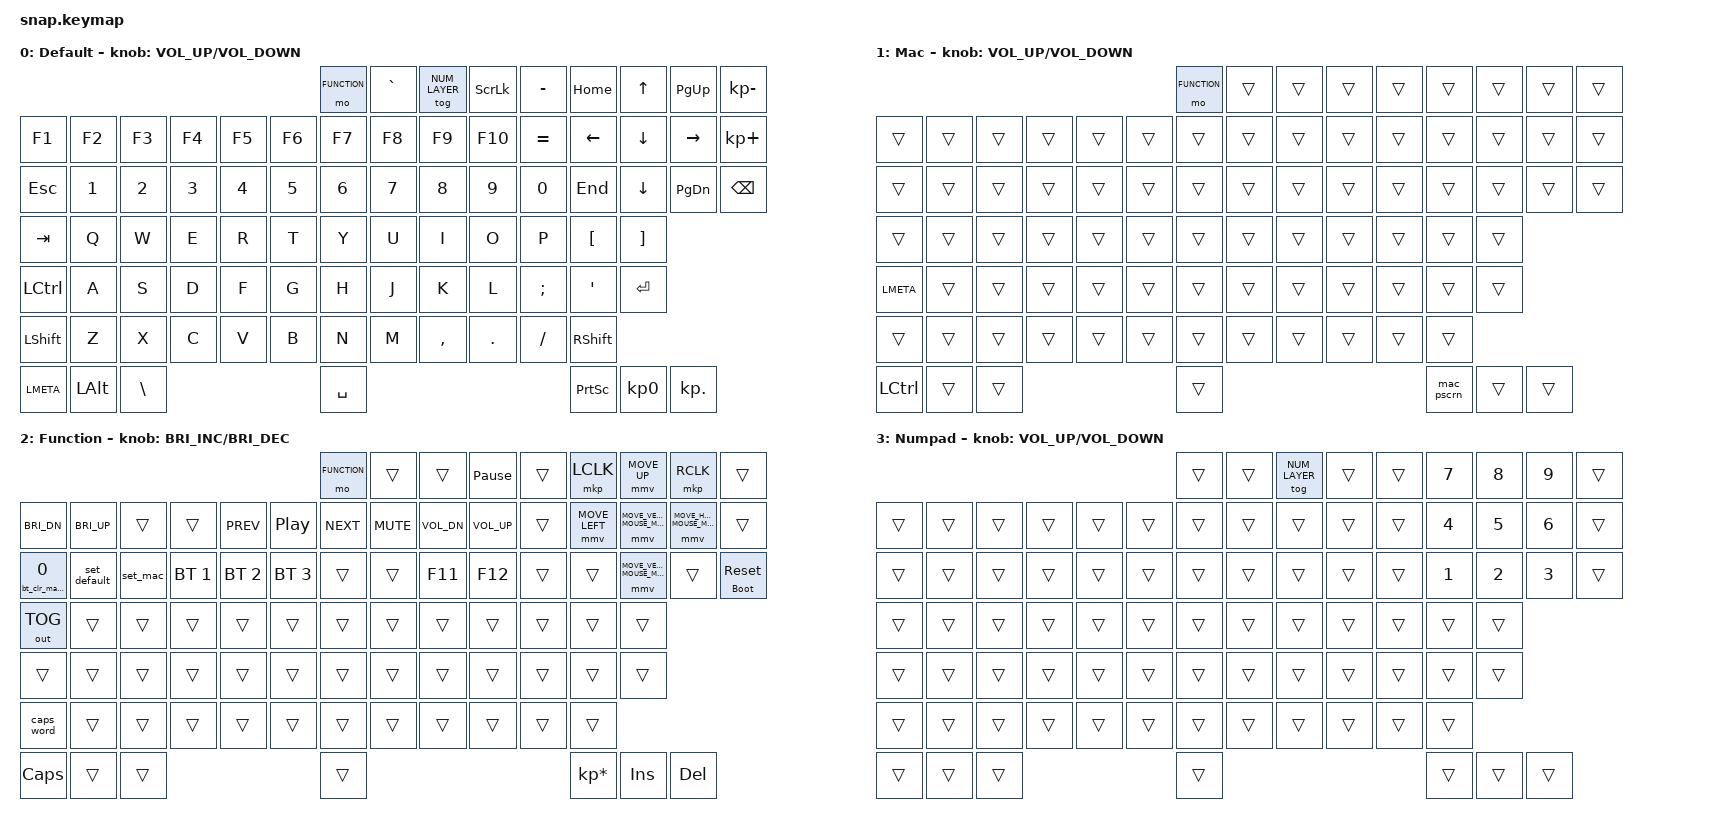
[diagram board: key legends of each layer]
#include <behaviors.dtsi>
#include <dt-bindings/zmk/keys.h>
#include <dt-bindings/zmk/bt.h>
#include <dt-bindings/zmk/outputs.h>
#include <dt-bindings/zmk/mouse.h>

#define U_MOUSE_MOVE_MAX 1500
#define U_MOUSE_SCROLL_MAX 100

#define DEFAULT 0
#define MAC_LAYER 1
#define FUNCTION 2
#define NUM_LAYER 3

#undef MOVE_UP
#undef MOVE_DOWN
#undef MOVE_LEFT
#undef MOVE_RIGHT
#define MOVE_UP MOVE_VERT(-U_MOUSE_MOVE_MAX)
#define MOVE_DOWN MOVE_VERT(U_MOUSE_MOVE_MAX)
#define MOVE_LEFT MOVE_HOR(-U_MOUSE_MOVE_MAX)
#define MOVE_RIGHT MOVE_HOR(U_MOUSE_MOVE_MAX)

#undef SCROLL_UP
#undef SCROLL_DOWN
#undef SCROLL_LEFT
#undef SCROLL_RIGHT
#define SCROLL_UP SCROLL_VERT(U_MOUSE_SCROLL_MAX)
#define SCROLL_DOWN SCROLL_VERT(-U_MOUSE_SCROLL_MAX)
#define SCROLL_LEFT SCROLL_HOR(-U_MOUSE_SCROLL_MAX)
#define SCROLL_RIGHT SCROLL_HOR(U_MOUSE_SCROLL_MAX)

&mmv {
  time-to-max-speed-ms = <300>;
};

&mwh {
  time-to-max-speed-ms = <600>;
};

/{
    sensors {
        compatible = "zmk,keymap-sensors";
        sensors = <&encoder_1>;
        triggers-per-rotation = <12>;
    };

    behaviors {
        
        td2: tap_dance_2 {
            compatible = "zmk,behavior-tap-dance";
            label = "TAP_DANCE_2";
            #binding-cells = <0>;
            tapping-term-ms = <200>;
            bindings = <&kp LA(LBKT)>, <&kp LA(LS(LBKT))>;
        };
        td3: tap_dance_3 {
            compatible = "zmk,behavior-tap-dance";
            label = "TAP_DANCE_3";
            #binding-cells = <0>;
            tapping-term-ms = <200>;
            bindings = <&kp LA(RBKT)>, <&kp LA(LS(RBKT))>;
        };
        td4: tap_dance_4 {
            compatible = "zmk,behavior-tap-dance";
            label = "TAP_DANCE_4";
            #binding-cells = <0>;
            tapping-term-ms = <200>;
            bindings = <&kp LA(SEMI)>, <&kp LA(LS(SEMI))>;
        };
        td5: tap_dance_5 {
            compatible = "zmk,behavior-tap-dance";
            label = "TAP_DANCE_5";
            #binding-cells = <0>;
            tapping-term-ms = <200>;
            bindings = <&kp LA(SQT)>, <&kp LA(LS(SQT))>;
        };
        rst: boot_reset {
            compatible = "zmk,behavior-hold-tap";
            label = "Reset Tap - Bootloader Hold";
            #binding-cells = <2>;
            tapping_term_ms = <5000>;
            flavor = "tap-preferred";
            bindings = <&bootloader>, <&sys_reset>;
        };
        bt_clr_esc: bt_clr_esc {
            compatible = "zmk,behavior-hold-tap";
            label = "Esc Tap - Bluetooth Clear Hold";
            #binding-cells = <2>;
            tapping_term_ms = <5000>;
            flavor = "tap-preferred";
            bindings = <&bt_clr_macro>, <&kp>;
        };
    };

    macros {
        set_default: set_default {
            label = "Set Default layer";
            compatible = "zmk,behavior-macro";
            #binding-cells = <0>;
            bindings
                = <&to DEFAULT>
                , <&out OUT_USB>
                ;
        };
        set_mac: set_mac {
            label = "Set Mac layer";
            compatible = "zmk,behavior-macro";
            #binding-cells = <0>;
            bindings
                = <&to MAC_LAYER>
                , <&out OUT_BLE>
                , <&bt BT_SEL 0>
                ;
        };
        mac_pscrn: mac_pscrn {
            label = "mac_pscrn";
            compatible = "zmk,behavior-macro";
            #binding-cells = <0>;
            bindings
                = <&macro_press &kp LSHFT>
                , <&macro_press &kp LMETA>
                , <&macro_tap &kp N5>
                , <&macro_release &kp LMETA>
                , <&macro_release &kp LSHFT>
                ;
        };
        bt_clr_macro: bt_clr_macro {
            label = "Clear bluetooth macro";
            compatible = "zmk,behavior-macro";
            #binding-cells = <0>;
            bindings
                = <&bt BT_CLR>
                ;
        };
    };

    keymap {
        compatible = "zmk,keymap";

        default_layer {
            label = "Default";

            // --------------------------------------------------------------------------------------------------------------------------------------------------------------------
            //                                                              |    FN   |    `    |   NMLK  |   SCLK  |    -    |    7    |    8    |    9    |    -    |
            // |   F1     |    F2   |    F3   |    F4   |    F5   |    F6   |    F7   |    F8   |    F9   |   F10   |    +    |    1    |    2    |    3    |    +    |
            // |   ESC    |    1    |    2    |    3    |    4    |    5    |    6    |    7    |    8    |    9    |    0    |    1    |    2    |    3    |   BSPC  |
            // |   TAB    |    Q    |    W    |    E    |    R    |    T    |    Y    |    U    |    I    |    O    |    P    |    [    |    ]    |
            // |   CTRL   |    A    |    S    |    D    |    F    |    G    |    H    |    J    |    K    |    L    |    ;    |    '    |  ENTER  |
            // |   SHIFT  |    Z    |    X    |    C    |    V    |    B    |    N    |    M    |    ,    |    .    |    /    |  SHIFT  |
            // |   Alt    |  PrtScr |    |    |                             |  SPACE  |                                                 |CapsLock |    0    |    .    |
            //
            bindings = <
                                                                                            &mo FUNCTION       &kp GRAVE  &tog NUM_LAYER &kp SLCK  &kp MINUS  &kp HOME  &kp UP    &kp PG_UP &kp KP_MINUS
            &kp F1     &kp F2        &kp F3        &kp F4        &kp F5        &kp F6       &kp F7             &kp F8     &kp F9         &kp F10   &kp EQUAL  &kp LEFT  &kp DOWN  &kp RIGHT &kp KP_PLUS
            &kp ESC    &kp N1        &kp N2        &kp N3        &kp N4        &kp N5       &kp N6             &kp N7     &kp N8         &kp N9    &kp N0     &kp END   &kp DOWN  &kp PG_DN &kp BSPC
            &kp TAB    &kp Q         &kp W         &kp E         &kp R         &kp T        &kp Y              &kp U      &kp I          &kp O     &kp P      &kp LBKT  &kp RBKT 
            &kp LCTRL  &kp A         &kp S         &kp D         &kp F         &kp G        &kp H              &kp J      &kp K          &kp L     &kp SEMI   &kp SQT   &kp ENTER
            &kp LSHIFT &kp Z         &kp X         &kp C         &kp V         &kp B        &kp N              &kp M      &kp COMMA      &kp DOT   &kp SLASH  &kp RSHIFT
            &kp LMETA  &kp LALT      &kp BSLH                                               &kp SPACE                                                         &kp PSCRN &kp KP_N0 &kp KP_DOT
                    >;
            sensor-bindings = <&inc_dec_kp C_VOLUME_UP C_VOLUME_DOWN>;
        };

        mac_layer {
            label = "Mac";

            // --------------------------------------------------------------------------------------------------------------------------------------------------------------------
            //                                                              |    FN   |    `    |   NMLK  |   SCLK  |    -    |    7    |    8    |    9    |    -    |
            // |   F1     |    F2   |    F3   |    F4   |    F5   |    F6   |    F7   |    F8   |    F9   |   F10   |    +    |    1    |    2    |    3    |    +    |
            // |   ESC    |    1    |    2    |    3    |    4    |    5    |    6    |    7    |    8    |    9    |    0    |    1    |    2    |    3    |   BSPC  |
            // |   TAB    |    Q    |    W    |    E    |    R    |    T    |    Y    |    U    |    I    |    O    |    P    |    [    |    ]    |
            // |   CTRL   |    A    |    S    |    D    |    F    |    G    |    H    |    J    |    K    |    L    |    ;    |    '    |  ENTER  |
            // |   SHIFT  |    Z    |    X    |    C    |    V    |    B    |    N    |    M    |    ,    |    .    |    /    |  SHIFT  |
            // |   Alt    | CapsLck |    |    |                             |  SPACE  |                                                 | PrnScrn |    0    |    .    |
            //
            bindings = <
                                                                                          &mo FUNCTION &trans     &trans         &trans  &trans     &trans      &trans     &trans    &trans 
            &trans       &trans       &trans       &trans       &trans       &trans       &trans       &trans     &trans         &trans  &trans     &trans      &trans     &trans    &trans 
            &trans       &trans       &trans       &trans       &trans       &trans       &trans       &trans     &trans         &trans  &trans     &trans      &trans     &trans    &trans 
            &trans       &trans       &trans       &trans       &trans       &trans       &trans       &trans     &trans         &trans  &trans     &trans      &trans 
            &kp LMETA    &trans       &trans       &trans       &trans       &trans       &trans       &trans     &trans         &trans  &trans     &trans      &trans
            &trans       &trans       &trans       &trans       &trans       &trans       &trans       &trans     &trans         &trans  &trans     &trans   
            &kp LCTRL    &trans       &trans                                              &trans                                                    &mac_pscrn  &trans  &trans
                    >;
            sensor-bindings = <&inc_dec_kp C_VOLUME_UP C_VOLUME_DOWN>;
        };

        function_layer {
            label = "Function";

            // --------------------------------------------------------------------------------------------------------------------------------------------------------------------
            //                                                              |    FN   |    `    |   NMLK  |   SCLK  |    -    |    7    |    8    |    9    |    -    |
            // |   F1     |    F2   |    F3   |    F4   |    F5   |    F6   |    F7   |    F8   |    F9   |   F10   |    +    |    1    |    2    |    3    |    +    |
            // |   ESC    |    1    |    2    |    3    |    4    |    5    |    6    |    7    |    8    |    9    |    0    |    1    |    2    |    3    |   BSPC  |
            // |   TAB    |    Q    |    W    |    E    |    R    |    T    |    Y    |    U    |    I    |    O    |    P    |    [    |    ]    |
            // |   CTRL   |    A    |    S    |    D    |    F    |    G    |    H    |    J    |    K    |    L    |    ;    |    '    |  ENTER  |
            // |   SHIFT  |    Z    |    X    |    C    |    V    |    B    |    N    |    M    |    ,    |    .    |    /    |  SHIFT  |
            // |   Alt    | CapsLck |    |    |                             |  SPACE  |                                                 | PrtScr  |    0    |    .    |
            //
            bindings = <
                                                                                              &mo FUNCTION  &trans      &trans        &kp PAUSE_BREAK  &trans  &mkp LCLK       &mmv MOVE_UP    &mkp RCLK        &trans  
            &kp C_BRI_DN    &kp C_BRI_UP  &trans    &trans        &kp C_PREV    &kp C_PP      &kp C_NEXT    &kp C_MUTE  &kp C_VOL_DN  &kp C_VOL_UP     &trans  &mmv MOVE_LEFT  &mmv MOVE_DOWN  &mmv MOVE_RIGHT  &trans    
            &bt_clr_esc 0 0 &set_default  &set_mac  &bt BT_SEL 1  &bt BT_SEL 2  &bt BT_SEL 3  &trans        &trans      &kp F11       &kp F12          &trans  &trans          &mmv MOVE_DOWN  &trans           &rst 0 0  
            &out OUT_TOG    &trans        &trans    &trans        &trans        &trans        &trans        &trans      &trans        &trans           &trans  &trans          &trans 
            &trans          &trans        &trans    &trans        &trans        &trans        &trans        &trans      &trans        &trans           &trans  &trans          &trans
            &caps_word      &trans        &trans    &trans        &trans        &trans        &trans        &trans      &trans        &trans           &trans  &trans    
            &kp CAPS        &trans        &trans                                              &trans                                                                           &kp KP_MULTIPLY  &kp INS         &kp DEL 
                    >;
            sensor-bindings = <&inc_dec_kp C_BRIGHTNESS_INC C_BRIGHTNESS_DEC>;
        };

      num_layer {
            label = "Numpad";

            // --------------------------------------------------------------------------------------------------------------------------------------------------------------------
            //                                                              |    FN   |    `    |   NMLK  |   SCLK  |    -    |    7    |    8    |    9    |    -    |
            // |   F1     |    F2   |    F3   |    F4   |    F5   |    F6   |    F7   |    F8   |    F9   |   F10   |    +    |    1    |    2    |    3    |    +    |
            // |   ESC    |    1    |    2    |    3    |    4    |    5    |    6    |    7    |    8    |    9    |    0    |    1    |    2    |    3    |   BSPC  |
            // |   TAB    |    Q    |    W    |    E    |    R    |    T    |    Y    |    U    |    I    |    O    |    P    |    [    |    ]    |
            // |   CTRL   |    A    |    S    |    D    |    F    |    G    |    H    |    J    |    K    |    L    |    ;    |    '    |  ENTER  |
            // |   SHIFT  |    Z    |    X    |    C    |    V    |    B    |    N    |    M    |    ,    |    .    |    /    |  SHIFT  |
            // |   Alt    |  PrtScr |    |    |                             |  SPACE  |                                                 |CapsLock |    0    |    .    |
            //
            bindings = <
                                                                  &trans   &trans   &tog NUM_LAYER &trans   &trans   &kp N7     &kp N8     &kp N9     &trans
            &trans   &trans   &trans   &trans   &trans   &trans   &trans   &trans   &trans         &trans   &trans   &kp N4     &kp N5     &kp N6     &trans
            &trans   &trans   &trans   &trans   &trans   &trans   &trans   &trans   &trans         &trans   &trans   &kp N1     &kp N2     &kp N3     &trans
            &trans   &trans   &trans   &trans   &trans   &trans   &trans   &trans   &trans         &trans   &trans   &trans     &trans 
            &trans   &trans   &trans   &trans   &trans   &trans   &trans   &trans   &trans         &trans   &trans   &trans     &trans     
            &trans   &trans   &trans   &trans   &trans   &trans   &trans   &trans   &trans         &trans   &trans   &trans    
            &trans   &trans   &trans                              &trans                                                        &trans     &trans     &trans
                    >;
            sensor-bindings = <&inc_dec_kp C_VOLUME_UP C_VOLUME_DOWN>;
        };
    };
};
